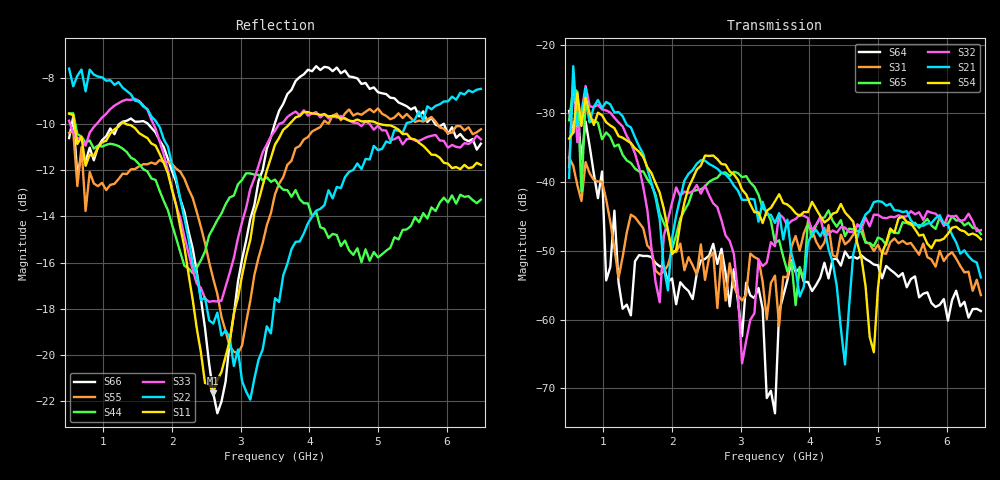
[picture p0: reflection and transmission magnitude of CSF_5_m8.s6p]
!Keysight Technologies,M9804A,MY58100912,A.14.10.03
!Date: Thursday, April 27, 2023 10:28:33
!Correction: S11(C  6-Port  )
!S12(C  6-Port  )
!S13(C  6-Port  )
!S14(C  6-Port  )
!S15(C  6-Port  )
!S16(C  6-Port  )
!S21(C  6-Port  )
!S22(C  6-Port  )
!S23(C  6-Port  )
!S24(C  6-Port  )
!S25(C  6-Port  )
!S26(C  6-Port  )
!S31(C  6-Port  )
!S32(C  6-Port  )
!S33(C  6-Port  )
!S34(C  6-Port  )
!S35(C  6-Port  )
!S36(C  6-Port  )
!S41(C  6-Port  )
!S42(C  6-Port  )
!S43(C  6-Port  )
!S44(C  6-Port  )
!S45(C  6-Port  )
!S46(C  6-Port  )
!S51(C  6-Port  )
!S52(C  6-Port  )
!S53(C  6-Port  )
!S54(C  6-Port  )
!S55(C  6-Port  )
!S56(C  6-Port  )
!S61(C  6-Port  )
!S62(C  6-Port  )
!S63(C  6-Port  )
!S64(C  6-Port  )
!S65(C  6-Port  )
!S66(C  6-Port  )
!S6P File: Measurement: :
# Hz S  RI  R 50
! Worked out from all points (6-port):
!   101 points, 500 MHz to 6.5 GHz, reference 50 ohm
!   strongest paths, dB at 500 MHz, 2 GHz, 3.5 GHz, 5 GHz, 6.5 GHz:
!     S54: -33.7, -50.5, -42.8, -55.5, -48.3
!     S21: -39.4, -48.2, -45.9, -42.8, -53.9
!     S32: -37.8, -43.0, -49.3, -44.8, -47.0
!     S65: -31.0, -49.7, -48.8, -48.1, -47.5
!     S31: -36.4, -49.9, -53.6, -49.1, -56.4
!     S64: -29.6, -54.0, -73.6, -52.1, -58.8
!   lowest |S11| = -21.7 dB at 2.6 GHz (marker M1), VSWR 1.18, Z = 42.6 + j2.05 ohm
!   |S11| at or under -10 dB: 577.9 MHz to 1.257 GHz (679 MHz wide, 74 % of centre); 1.324 GHz to 3.714 GHz (2.39 GHz wide, 94.9 % of centre); 5.013 GHz to end of sweep
